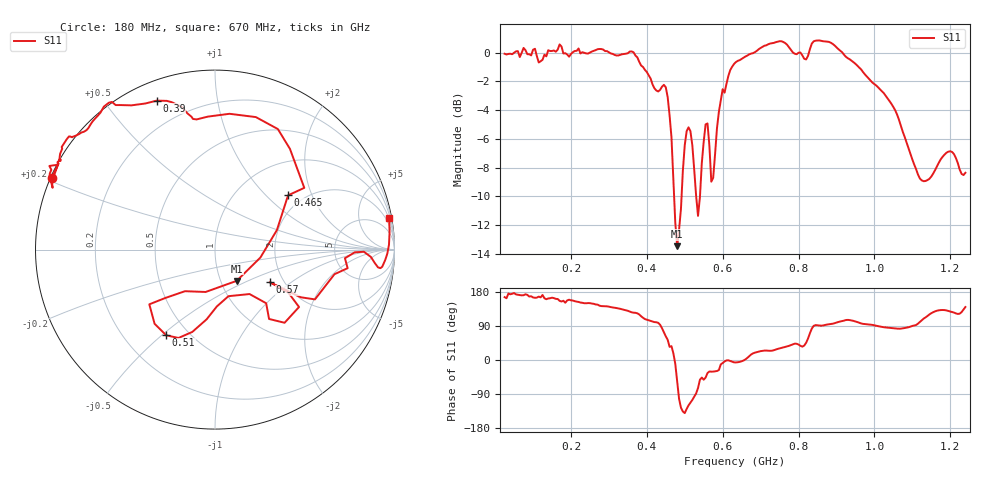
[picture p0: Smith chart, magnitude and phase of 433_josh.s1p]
!Created with skrf (http://scikit-rf.org).
# Hz S RI R 50.0
!freq ReS11 ImS11
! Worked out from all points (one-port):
!   244 points, 25 MHz to 1.24 GHz, reference 50 ohm
!   lowest |S11| = -13.5 dB at 480 MHz (marker M1), VSWR 1.54, Z = 59.4 - j21.7 ohm
!   |S11| at or under -10 dB: 472 MHz to 491.7 MHz (19.69 MHz wide, 4.09 % of centre); 530.1 MHz to 540.1 MHz (10.06 MHz wide, 1.88 % of centre)
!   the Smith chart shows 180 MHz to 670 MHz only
!   S11 on the Smith chart (normalised r, x): 180 MHz: 0.00, +0.21; 390 MHz: 0.08, +0.68; 465 MHz: 1.68, +1.36; 510 MHz: 0.38, -0.52; 570 MHz: 1.70, -0.70; 670 MHz: 1, +11
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2.5e7  -0.9612 0.2419
5e7  -0.9977 0.0582
1.8e8  -0.9099 0.3987
3.3e8  -0.695 0.6945
3.9e8  -0.3249 0.83
4.3e8  -0.103 0.7252
4.45e8  0.2275 0.7383
4.6e8  0.4975 0.3441
4.65e8  0.407 0.3021
4.8e8  0.1208 -0.1741
4.85e8  -0.0522 -0.2361
5e8  -0.366 -0.3049
5.1e8  -0.2717 -0.4775
5.35e8  0.0749 -0.2596
5.6e8  0.4682 -0.3197
5.7e8  0.3055 -0.1815
5.9e8  0.5569 -0.2774
6e8  0.739 -0.1035
6.35e8  0.9217 -0.1033
6.7e8  0.9707 0.1745
7.85e8  0.7494 0.6648
8.15e8  0.7491 0.5876
8.35e8  0.1337 1.067
8.45e8  -0.0396 1.1
9.4e8  -0.2328 0.9078
1.09e9  0.0287 0.463
1.175e9  -0.2832 0.3173
1.24e9  -0.2915 0.2462
